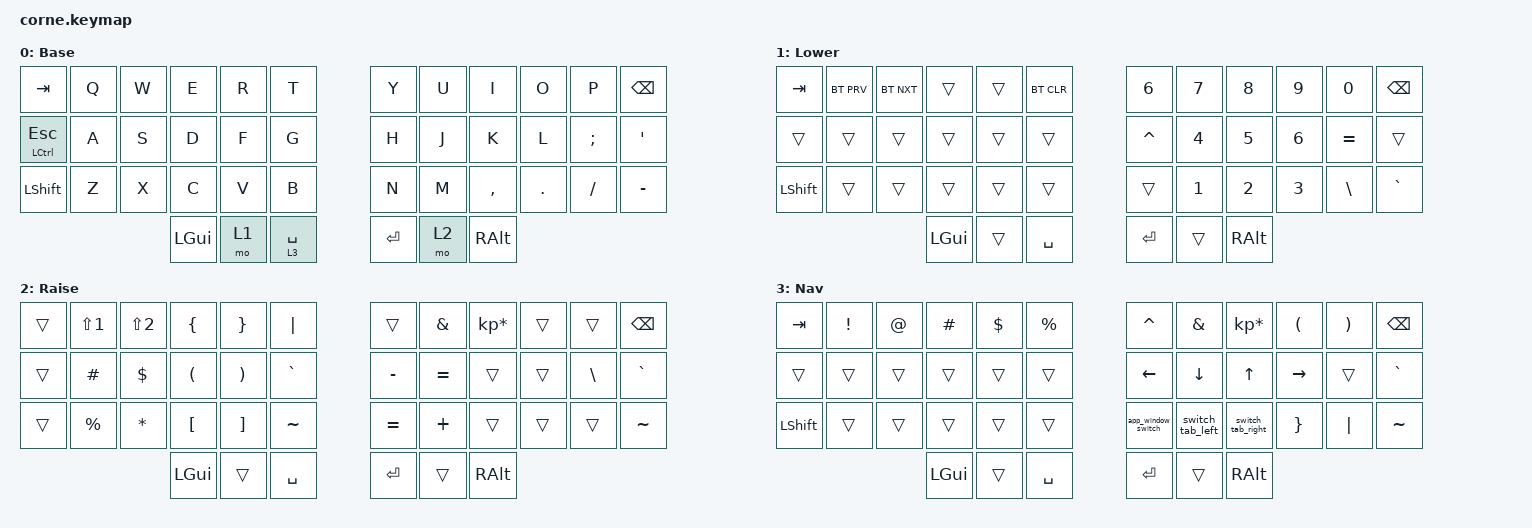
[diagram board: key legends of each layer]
/*
 * Copyright (c) 2020 The ZMK Contributors
 *
 * SPDX-License-Identifier: MIT
 */

#include <behaviors.dtsi>
#include <dt-bindings/zmk/bt.h>
#include <dt-bindings/zmk/keys.h>

/ {
    macros {
        switch_tab_left: switch_tab_left {
            compatible = "zmk,behavior-macro";
            #binding-cells = <0>;
            bindings = <&kp LG(LS(LEFT_BRACKET))>;
            label = "SWITCH_TAB_LEFT";
        };

        switch_tab_right: switch_tab_right {
            compatible = "zmk,behavior-macro";
            #binding-cells = <0>;
            bindings = <&kp LG(LS(RIGHT_BRACKET))>;
            label = "SWITCH_TAB_RIGHT";
        };
        app_window_switch: app_window_switch {
            compatible = "zmk,behavior-macro";
            #binding-cells = <0>;
            bindings = <
                &macro_press   &kp LGUI // Press and hold Command (GUI)
                &macro_tap     &kp GRAVE // Tap the Backtick key
                &macro_release &kp LGUI // Release Command (GUI)
            >;
            label = "APP_WINDOW_SWITCH";
        };
    };

    keymap {
        compatible = "zmk,keymap";

        default_layer {
            // -----------------------------------------------------------------------------------------
            // |  TAB |  Q  |  W  |  E  |  R  |  T  |   |  Y  |  U   |  I  |  O  |  P  | BKSP |
            // | CTRL/ESC |  A  |  S  |  D  |  F  |  G  |   |  H  |  J   |  K  |  L  |  ;  |  '   |
            // | SHFT |  Z  |  X  |  C  |  V  |  B  |   |  N  |  M   |  ,  |  .  |  /  |  -   |
            //                    | GUI | LWR | SPC/NAV |   | ENT | RSE  | ALT |

            display-name = "Base";
            bindings = <
&kp TAB        &kp Q  &kp W  &kp E     &kp R  &kp T          &kp Y    &kp U  &kp I      &kp O    &kp P     &kp BSPC
&mt LCTRL ESC  &kp A  &kp S  &kp D     &kp F  &kp G          &kp H    &kp J  &kp K      &kp L    &kp SEMI  &kp SQT
&kp LSHFT      &kp Z  &kp X  &kp C     &kp V  &kp B          &kp N    &kp M  &kp COMMA  &kp DOT  &kp FSLH  &kp MINUS
                             &kp LGUI  &mo 1  &lt 3 SPACE    &kp RET  &mo 2  &kp RALT
            >;
        };

        lower_layer {
            // -----------------------------------------------------------------------------------------
            // |  TAB |  1  |  2  |  3  |  4  |  5  |   |  6  |  7  |  8  |  9  |  0  |  -   |
            // |      |     |     |     |     |     |   |  ^  |  4  |  5  |  6  |  =  |      |
            // | SHFT |     |     |     |     |     |   |     |  1  |  2  |  3  |  \  |  `   |
            //                    | GUI |     | SPC |   | ENT |     | ALT |

            display-name = "Lower";
            bindings = <
&kp TAB    &bt BT_PRV  &bt BT_NXT  &trans    &trans  &bt BT_CLR    &kp N6     &kp N7  &kp N8    &kp N9  &kp N0         &kp BSPC
&trans     &trans      &trans      &trans    &trans  &trans        &kp CARET  &kp N4  &kp N5    &kp N6  &kp EQUAL      &trans
&kp LSHFT  &trans      &trans      &trans    &trans  &trans        &trans     &kp N1  &kp N2    &kp N3  &kp BACKSLASH  &kp GRAVE
                                   &kp LGUI  &trans  &kp SPACE     &kp RET    &trans  &kp RALT
            >;
        };

        raise_layer {
            // -----------------------------------------------------------------------------------------
            // |      |  !  |  @  |  {  |  }  |  |  |   |     |  &  |  *  |     |     | BKSP |
            // |      |  #  |  $  |  (  |  )  |  `  |   |  -  |  =  |     |     |  \  |  `   |
            // |      |  %  |  *  |  [  |  ]  |  ~  |   |  =  |  +  |     |     |     |  ~   |
            //                    | GUI |     | SPC |   | ENT |     | ALT |

            display-name = "Raise";
            bindings = <
&trans  &kp LS(NUMBER_1)  &kp LS(NUMBER_2)  &kp LBRC  &kp RBRC  &kp PIPE     &trans     &kp AMPS   &kp KP_MULTIPLY  &trans  &trans    &kp BSPC
&trans  &kp HASH          &kp DLLR          &kp LPAR  &kp RPAR  &kp GRAVE    &kp MINUS  &kp EQUAL  &trans           &trans  &kp BSLH  &kp GRAVE
&trans  &kp PRCNT         &kp ASTRK         &kp LBKT  &kp RBKT  &kp TILDE    &kp EQUAL  &kp PLUS   &trans           &trans  &trans    &kp TILDE
                                            &kp LGUI  &trans    &kp SPACE    &kp RET    &trans     &kp RALT
            >;
        };

        nav {
            // -----------------------------------------------------------------------------------------
            // |  TAB |  !  |  @  |  #  |  $  |  %  |   |  ^  |  &  |  *  |  (  |  )  | BKSP |
            // | BTCLR| BT0 | BT1 | BT3 | BT4 |     |   | LEFT| DOWN|  UP |RIGHT|     |  `   |
            // | SHFT |     |     |     |     |     |   |     |TABLFT|TABRT|  ]  |  |  |  ~   |
            //                    | GUI |     | SPC |   | ENT |     | ALT |

            display-name = "Nav";
            bindings = <
&kp TAB    &kp EXCL  &kp AT  &kp HASH  &kp DLLR  &kp PRCNT    &kp CARET       &kp AMPS          &kp KP_MULTIPLY    &kp LPAR   &kp RPAR  &kp BSPC
&trans     &trans    &trans  &trans    &trans    &trans       &kp LEFT_ARROW  &kp DOWN          &kp UP_ARROW       &kp RIGHT  &trans    &kp GRAVE
&kp LSHFT  &trans    &trans  &trans    &trans    &trans       &app_window_switch          &switch_tab_left  &switch_tab_right  &kp RBRC   &kp PIPE  &kp TILDE
                             &kp LGUI  &trans    &kp SPACE    &kp RET         &trans            &kp RALT
            >;
        };

        extra_2 { status = "reserved"; };

        extra_3 { status = "reserved"; };
    };
};
